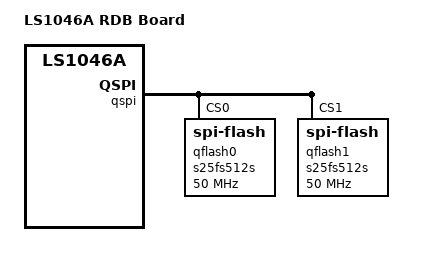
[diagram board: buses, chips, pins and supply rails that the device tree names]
/*
 * Device Tree Include file for Freescale Layerscape-1046A family SoC.
 *
 * Copyright 2016, Freescale Semiconductor
 *
 * Mingkai Hu <Mingkai.hu@freescale.com>
 *
 * SPDX-License-Identifier:    GPL-2.0+  X11
 */

/dts-v1/;

#include "fsl-ls1046a.dtsi"

/ {
  model = "LS1046A RDB Board";

  aliases {
    spi0 = &qspi;
  };

};

&qspi {
  num-cs = <2>;
  reg = <0x0 0x1550000 0x0 0x10000>,
    <0x0 0x40000000 0x0 0x8000000>;
  status = "okay";
  uefi-runtime;

  qflash0: s25fs512s@0 {
    #address-cells = <1>;
    #size-cells = <1>;
    compatible = "spi-flash";
    spi-max-frequency = <50000000>;
    reg = <0>;
    uefi-runtime;
  };

  qflash1: s25fs512s@1 {
    #address-cells = <1>;
    #size-cells = <1>;
    compatible = "spi-flash";
    spi-max-frequency = <50000000>;
    reg = <1>;
   };
};
